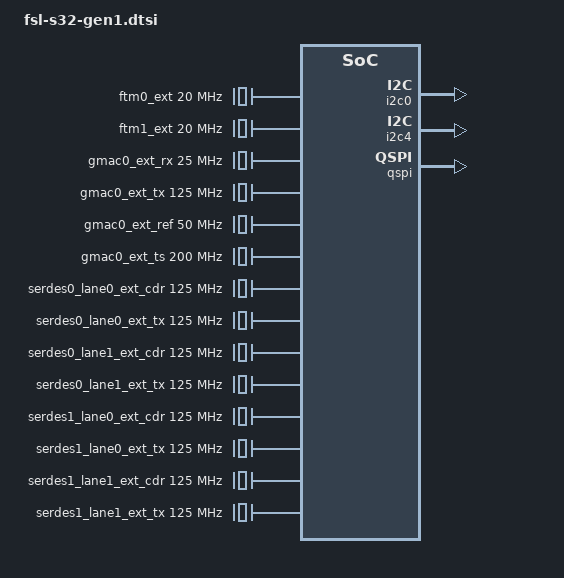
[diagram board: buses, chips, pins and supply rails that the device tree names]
/*
 * Copyright 2020-2022 NXP
 *
 * SPDX-License-Identifier: BSD-3-Clause
 */

#include <dt-bindings/clock/s32gen1-clock-freq.h>
#include <dt-bindings/clock/s32gen1-clock.h>
#include <dt-bindings/reset/s32gen1-wkpu.h>

/ {
	#address-cells = <2>;
	#size-cells = <2>;

	aliases {
		i2c0 = &i2c0;
		i2c4 = &i2c4;
	};

	fxosc: fxosc@40050000 {
		compatible = "fixed-clock", "fsl,s32gen1-fxosc";
		reg = <0x0 0x40050000 0x0 0x3000>;
		clock-frequency = <S32GEN1_FXOSC_FREQ>;
		#clock-cells = <1>;
	};

	firc: firc {
		compatible = "fixed-clock";
		clock-frequency = <51000000>;
		#clock-cells = <1>;
	};

	sirc: sirc {
		compatible = "fixed-clock";
		clock-frequency = <32000>;
		#clock-cells = <1>;
	};

	ftm0_ext: ftm0_ext {
		compatible = "fixed-clock";
		clock-frequency = <20000000>;
		#clock-cells = <1>;
	};

	ftm1_ext: ftm1_ext {
		compatible = "fixed-clock";
		clock-frequency = <20000000>;
		#clock-cells = <1>;
	};

	gmac0_ext_rx: gmac0_ext_rx {
		compatible = "fixed-clock";
		clock-frequency = <25000000>;
		#clock-cells = <1>;
	};

	gmac0_ext_tx: gmac0_ext_tx {
		compatible = "fixed-clock";
		clock-frequency = <125000000>;
		#clock-cells = <1>;
	};

	gmac0_ext_ref: gmac0_ext_ref {
		compatible = "fixed-clock";
		clock-frequency = <50000000>;
		#clock-cells = <1>;
	};

	gmac0_ext_ts: gmac0_ext_ts {
		compatible = "fixed-clock";
		clock-frequency = <200000000>;
		#clock-cells = <1>;
	};

	serdes0_lane0_ext_cdr: serdes0_lane0_ext_cdr {
		compatible = "fixed-clock";
		clock-frequency = <125000000>;
		#clock-cells = <1>;
	};

	serdes0_lane0_ext_tx: serdes0_lane0_ext_tx {
		compatible = "fixed-clock";
		clock-frequency = <125000000>;
		#clock-cells = <1>;
	};

	serdes0_lane1_ext_cdr: serdes0_lane1_ext_cdr {
		compatible = "fixed-clock";
		clock-frequency = <125000000>;
		#clock-cells = <1>;
	};

	serdes0_lane1_ext_tx: serdes0_lane1_ext_tx {
		compatible = "fixed-clock";
		clock-frequency = <125000000>;
		#clock-cells = <1>;
	};

	serdes1_lane0_ext_cdr: serdes1_lane0_ext_cdr {
		compatible = "fixed-clock";
		clock-frequency = <125000000>;
		#clock-cells = <1>;
	};

	serdes1_lane0_ext_tx: serdes1_lane0_ext_tx {
		compatible = "fixed-clock";
		clock-frequency = <125000000>;
		#clock-cells = <1>;
	};

	serdes1_lane1_ext_cdr: serdes1_lane1_ext_cdr {
		compatible = "fixed-clock";
		clock-frequency = <125000000>;
		#clock-cells = <1>;
	};

	serdes1_lane1_ext_tx: serdes1_lane1_ext_tx {
		compatible = "fixed-clock";
		clock-frequency = <125000000>;
		#clock-cells = <1>;
	};

	i2c0: i2c@401E4000 {
		compatible = "fsl,vf610-i2c";
		reg = <0x0 0x401E4000 0x0 0x10000>;
	};

	i2c4: i2c@402DC000 {
		compatible = "fsl,vf610-i2c";
		#address-cells = <1>;
		#size-cells = <0>;
		reg = <0x0 0x402DC000 0x0 0x10000>;
	};

	wkpu: wkpu@40090000 {
		compatible = "nxp,s32gen1-wkpu";
		reg = <0x0 0x40090000 0x0 0x10000>, /* WKPU */
		      <0x0 0x4007cb04 0x0 0x4>; /* S32G_STDBY_GPR */
		/*
		 * Enable RTC as wake-up source
		 */
		nxp,irqs = <S32GEN1_WKPU_RTC_IRQ
			    S32GEN1_WKPU_IRQ_RISING
			    S32GEN1_WKPU_PULL_DIS>;

		nxp,warm-boot = <S32GEN1_WKPU_LONG_BOOT>;

		status = "disabled";
	};

	clks: clks {
		compatible = "fsl,s32-gen1-clocking";
		#address-cells = <2>;
		#size-cells = <2>;
		#clock-cells = <1>;
		status = "okay";

		assigned-clocks =
			<&clks S32GEN1_CLK_FXOSC>,
			<&clks S32GEN1_CLK_FIRC>,
			<&clks S32GEN1_CLK_SIRC>,
			<&clks S32GEN1_CLK_GMAC0_EXT_RX>,
			<&clks S32GEN1_CLK_SERDES0_LANE0_TX>,
			<&clks S32GEN1_CLK_SERDES0_LANE0_CDR>,
			<&clks S32GEN1_CLK_SERDES_REF>;
		assigned-clock-parents =
			<&fxosc 0>,
			<&firc 0>,
			<&sirc 0>,
			<&gmac0_ext_rx 0>,
			<&serdes0_lane0_ext_tx 0>,
			<&serdes0_lane0_ext_cdr 0>;
		assigned-clock-rates =
			<0>, <0>, <0>, <0>,
			<0>, <0>, <100000000>;

		armpll: armpll@4003800 {
			compatible = "fsl,s32gen1-armpll";
			reg = <0x0 0x40038000 0x0 0x3000>;

			assigned-clocks =
				<&clks S32GEN1_CLK_ARM_PLL_MUX>,
				<&clks S32GEN1_CLK_ARM_PLL_VCO>,
				<&clks S32GEN1_CLK_ARM_PLL_PHI0>;
			assigned-clock-parents =
				<&clks S32GEN1_CLK_FXOSC>;
		};

		armdfs: armdfs@40054000 {
			compatible = "fsl,s32gen1-armdfs";
			reg = <0x0 0x40054000 0x0 0x3000>;

			assigned-clocks =
				<&clks S32GEN1_CLK_ARM_PLL_DFS1>,
				<&clks S32GEN1_CLK_ARM_PLL_DFS2>;
			assigned-clock-rates =
				<0>,
				<800000000>;
		};

		periphpll: periphpll@4003C000 {
			compatible = "fsl,s32gen1-periphpll";
			reg = <0x0 0x4003C000 0x0 0x3000>;

			assigned-clocks =
				<&clks S32GEN1_CLK_PERIPH_PLL_MUX>,
				<&clks S32GEN1_CLK_PERIPH_PLL_VCO>,
				<&clks S32GEN1_CLK_PERIPH_PLL_PHI0>,
				<&clks S32GEN1_CLK_PERIPH_PLL_PHI1>,
				<&clks S32GEN1_CLK_PERIPH_PLL_PHI2>,
				<&clks S32GEN1_CLK_PERIPH_PLL_PHI3>,
				<&clks S32GEN1_CLK_PERIPH_PLL_PHI4>,
				<&clks S32GEN1_CLK_PERIPH_PLL_PHI5>,
				<&clks S32GEN1_CLK_PERIPH_PLL_PHI7>;
			assigned-clock-parents =
				<&clks S32GEN1_CLK_FXOSC>;
			assigned-clock-rates =
				<0>,
				<S32GEN1_PERIPH_PLL_VCO_FREQ>, <100000000>,
				<80000000>, <80000000>,
				<125000000>, <200000000>,
				<125000000>, <100000000>;
		};

		periphdfs: armdfs@40058000 {
			compatible = "fsl,s32gen1-periphdfs";
			reg = <0x0 0x40058000 0x0 0x3000>;

			assigned-clocks =
				<&clks S32GEN1_CLK_PERIPH_PLL_DFS1>,
				<&clks S32GEN1_CLK_PERIPH_PLL_DFS3>;
			assigned-clock-rates =
				<800000000>,
				<800000000>;
		};

		accelpll: accelpll@40040000 {
			compatible = "fsl,s32gen1-accelpll";
			reg = <0x0 0x40040000 0x0 0x3000>;
		};

		ddrpll: ddrpll@40044000 {
			compatible = "fsl,s32gen1-ddrpll";
			reg = <0x0 0x40044000 0x0 0x3000>;
		};

		mc_me: mc_me@40088000 {
			compatible = "fsl,s32gen1-mc_me";
			reg = <0x0 0x40088000 0x0 0x3000>;
		};

		rdc: rdc@440080000 {
			compatible = "fsl,s32gen1-rdc";
			reg = <0x0 0x40080000 0x0 0x3000>;
		};

		rgm: rgm@40078000 {
			compatible = "fsl,s32gen1-rgm";
			reg = <0x0 0x40078000 0x0 0x3000>;
		};

		mc_cgm0: mc_cgm0@40030000 {
			compatible = "fsl,s32gen1-mc_cgm0";
			reg = <0x0 0x40030000 0x0 0x3000>;

			assigned-clocks =
				<&clks S32GEN1_CLK_MC_CGM0_MUX0>,
				<&clks S32GEN1_CLK_MC_CGM0_MUX3>,
				<&clks S32GEN1_CLK_MC_CGM0_MUX4>,
				<&clks S32GEN1_CLK_MC_CGM0_MUX5>,
				<&clks S32GEN1_CLK_MC_CGM0_MUX7>,
				<&clks S32GEN1_CLK_MC_CGM0_MUX8>,
				<&clks S32GEN1_CLK_MC_CGM0_MUX9>,
				<&clks S32GEN1_CLK_MC_CGM0_MUX10>,
				<&clks S32GEN1_CLK_MC_CGM0_MUX12>,
				<&clks S32GEN1_CLK_MC_CGM0_MUX14>,
				<&clks S32GEN1_CLK_MC_CGM0_MUX16>,
				<&clks S32GEN1_CLK_XBAR_2X>,
				<&clks S32GEN1_CLK_PER>,
				<&clks S32GEN1_CLK_FTM0_REF>,
				<&clks S32GEN1_CLK_FTM1_REF>,
				<&clks S32GEN1_CLK_CAN_PE>,
				<&clks S32GEN1_CLK_LIN_BAUD>,
				<&clks S32GEN1_CLK_GMAC0_TS>,
				<&clks S32GEN1_CLK_SPI>,
				<&clks S32GEN1_CLK_SDHC>,
				<&clks S32GEN1_CLK_QSPI_2X>;
			assigned-clock-parents =
				<&clks S32GEN1_CLK_ARM_PLL_DFS1>,
				<&clks S32GEN1_CLK_PERIPH_PLL_PHI1>,
				<&clks S32GEN1_CLK_PERIPH_PLL_PHI1>,
				<&clks S32GEN1_CLK_PERIPH_PLL_PHI1>,
				<&clks S32GEN1_CLK_PERIPH_PLL_PHI2>,
				<&clks S32GEN1_CLK_PERIPH_PLL_PHI3>,
				<&clks S32GEN1_CLK_PERIPH_PLL_PHI4>,
				<&clks S32GEN1_CLK_PERIPH_PLL_PHI5>,
				<&clks S32GEN1_CLK_PERIPH_PLL_DFS1>,
				<&clks S32GEN1_CLK_PERIPH_PLL_DFS3>,
				<&clks S32GEN1_CLK_PERIPH_PLL_PHI7>;
			assigned-clock-rates =
				<0>,
				<0>,
				<0>,
				<0>,
				<0>,
				<0>,
				<0>,
				<0>,
				<0>,
				<0>,
				<0>,
				<0>,
				<80000000>,
				<40000000>,
				<40000000>,
				<80000000>,
				<125000000>,
				<200000000>,
				<100000000>,
				<400000000>,
				<S32GEN1_QSPI_2X_CLK_FREQ>;
		};

		mc_cgm1: mc_cgm1@40034000 {
			compatible = "fsl,s32gen1-mc_cgm1";
			reg = <0x0 0x40034000 0x0 0x3000>;

			assigned-clocks =
				<&clks S32GEN1_CLK_MC_CGM1_MUX0>,
				<&clks S32GEN1_CLK_A53_CORE>;
			assigned-clock-parents =
				<&clks S32GEN1_CLK_ARM_PLL_PHI0>,
				<0>;
		};

		mc_cgm5: mc_cgm5@40068000 {
			compatible = "fsl,s32gen1-mc_cgm5";
			reg = <0x0 0x40068000 0x0 0x3000>;

			assigned-clocks =
				<&clks S32GEN1_CLK_MC_CGM5_MUX0>,
				<&clks S32GEN1_CLK_DDR>;
			assigned-clock-parents =
				<&clks S32GEN1_CLK_DDR_PLL_PHI0>,
				<0>;
			assigned-clock-rates =
				<0>,
				<S32GEN1_DDR_FREQ>;
		};
	};

	ocotp: ocotp@400A4000 {
		reg = <0x0 0x400A4000 0x0 0x400>;
		status = "okay";
	};

	qspi: quadspi@40134000 {
		compatible = "fsl,s32gen1-qspi";
		#address-cells = <1>;
		#size-cells = <0>;
		reg = <0x0 0x00000000 0x0 0x20000000>,
			<0x0 0x40134000 0x0 0x1000>;
		reg-names = "QuadSPI-memory", "QuadSPI";
		num-cs = <2>;
		status = "okay";
	};
};
